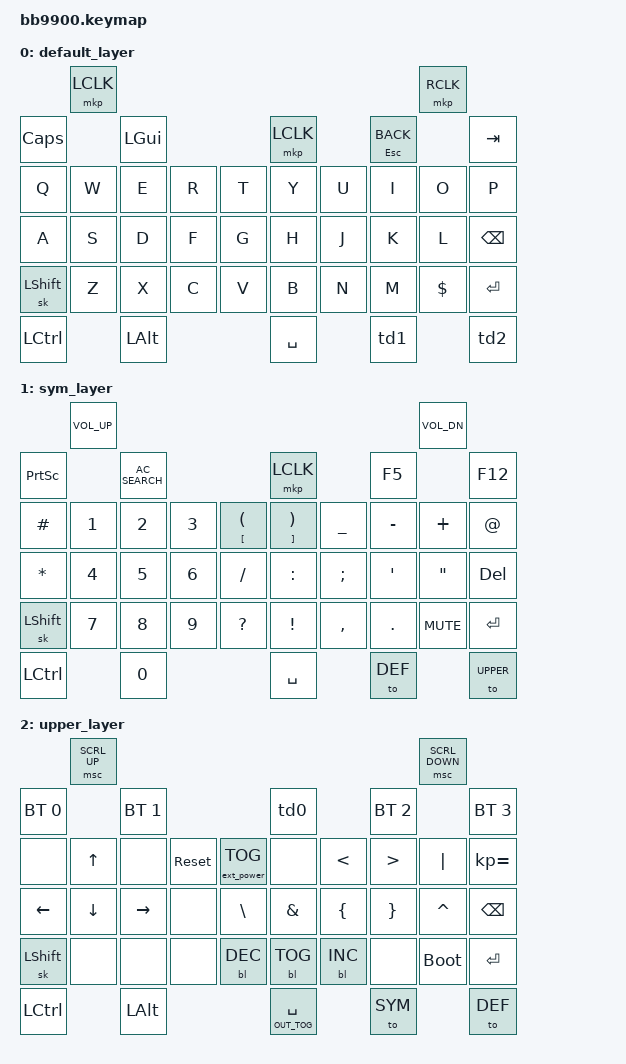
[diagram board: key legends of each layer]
/*
 * Copyright (c) 2023 ZitaoTech
 *
 * SPDX-License-Identifier: MIT
 */
   
#include <behaviors.dtsi>
#include <dt-bindings/zmk/keys.h>
#include <dt-bindings/zmk/bt.h>
#include <dt-bindings/zmk/outputs.h>
#include <dt-bindings/zmk/mouse.h>
#include <dt-bindings/zmk/backlight.h>
#include <dt-bindings/zmk/ext_power.h>


#define DEF 0
#define SYM 1
#define UPPER 2

&mt {
    tapping-term-ms = <400>;
};

&sl {
    release-after-ms = <1000>;
};

/ {
    behaviors {
        td0: tap_dance_0 {
            compatible = "zmk,behavior-tap-dance";
            #binding-cells = <0>;
            tapping-term-ms = <400>;
            bindings = <&mkp LCLK>, <&bt BT_CLR>;
        };
        td1: tap_dance_1 {
            compatible = "zmk,behavior-tap-dance";
            #binding-cells = <0>;
            tapping-term-ms = <400>;
            bindings = <&sl SYM>, <&to SYM>;
        };
        td2: tap_dance_2 {
            compatible = "zmk,behavior-tap-dance";
            #binding-cells = <0>;
            tapping-term-ms = <400>;
            bindings = <&sl UPPER>, <&to UPPER>;
        };
    };
    behaviors {
        hm: homerow_mods {
            compatible = "zmk,behavior-hold-tap";
            #binding-cells = <2>;
            tapping-term-ms = <500>;
            bindings = <&out &kp>;
        };
    };

    keymap {
        compatible = "zmk,keymap";

        default_layer {

            bindings = <
//         --------------------------------------------------------------------------------------------------------------------------         
//         |    Shoulder Key1    |                                                                             |    Shoulder Key2    |     
// |         Call key      |      Blackberry Key        |    Trackpad    |             Back Key                |             Endcall Key          |
// |     Q      |     W    |     E    |     R    |      T      |       Y        |       U        |        I        |       O      |      P        |     
// |     A      |     S    |     D    |     F    |      G      |       H        |       J        |        K        |       L      |      ←        |  
// |     alt    |     Z    |     X    |     C    |      V      |       B        |       N        |        M        |       $      |    Enter      |   
//        |         aA     |         0           |           SPACE              |         SYM         |        aA          |       
//        -----------------------------------------------------------------------------------------------------------------

                 &mkp LCLK                                                                                          &mkp RCLK
    &kp CLCK                &kp LGUI                            &mkp LCLK                          &mt ESC K_BACK                    &kp TAB
    &kp Q        &kp W      &kp E       &kp R      &kp T        &kp Y             &kp U            &kp I            &kp O            &kp P
    &kp A        &kp S      &kp D       &kp F      &kp G        &kp H             &kp J            &kp K            &kp L            &kp BSPC
    &sk LSHFT    &kp Z      &kp X       &kp C      &kp V        &kp B             &kp N            &kp M            &kp DLLR         &kp ENTER
    &kp LCTRL               &kp LALT                         &kp SPACE                          &td1                          &td2
            >;
        };


        sym_layer {

            bindings = <        
                 &kp C_VOL_UP                                                                                       &kp C_VOL_DN
    &kp PSCRN               &kp C_AC_SEARCH                     &mkp LCLK                          &kp F5                            &kp F12 
    &kp HASH     &kp N1     &kp N2      &kp N3    &mt LBKT LPAR &mt RBKT RPAR     &kp UNDER        &kp MINUS        &kp PLUS         &kp AT
    &kp STAR     &kp N4     &kp N5      &kp N6    &kp SLASH     &kp COLON         &kp SEMI         &kp APOS         &kp DQT          &kp DEL
    &sk LSHFT    &kp N7     &kp N8      &kp N9    &kp QMARK     &kp EXCL          &kp COMMA        &kp DOT          &kp C_MUTE       &kp ENTER
    &kp LCTRL               &kp N0                              &kp SPACE                      &to DEF                        &to UPPER
            >;
        };

        upper_layer {

            bindings = <
                 &msc SCRL_UP                                                                                       &msc SCRL_DOWN
    &bt BT_SEL 0            &bt BT_SEL 1                             &td0                           &bt BT_SEL 2                     &bt BT_SEL 3
    &none        &kp UP     &none       &sys_reset &ext_power EP_TOG &none         &kp LT           &kp GT          &kp PIPE         &kp KP_EQUAL
    &kp LEFT     &kp DOWN   &kp RIGHT   &none      &kp BSLH          &kp AMPS      &kp LBRC         &kp RBRC        &kp CARET        &kp BSPC
    &sk LSHFT    &none      &none       &none      &bl BL_DEC        &bl BL_TOG    &bl BL_INC       &none           &bootloader      &kp ENTER
    &kp LCTRL               &kp LALT                                 &hm OUT_TOG SPACE          &to SYM                       &to DEF
            >;
        };
    };
};

